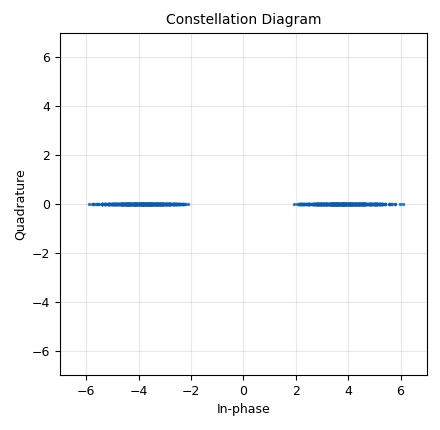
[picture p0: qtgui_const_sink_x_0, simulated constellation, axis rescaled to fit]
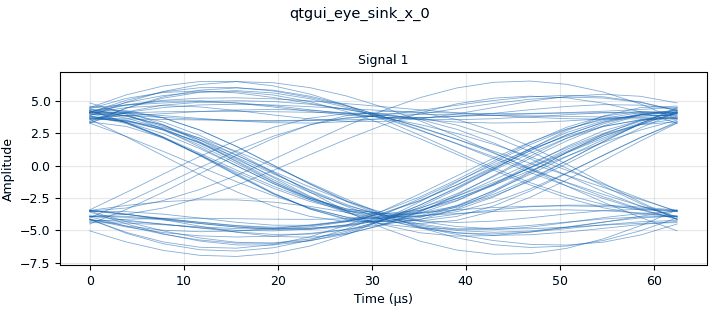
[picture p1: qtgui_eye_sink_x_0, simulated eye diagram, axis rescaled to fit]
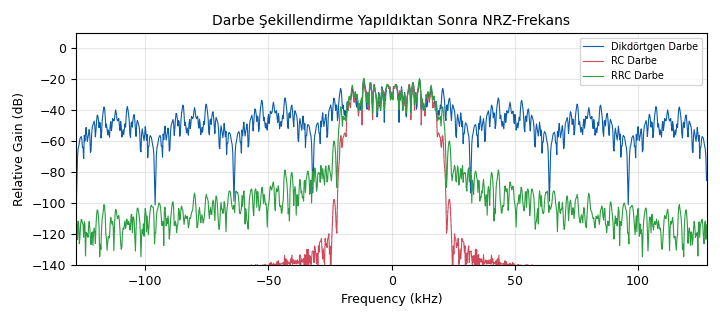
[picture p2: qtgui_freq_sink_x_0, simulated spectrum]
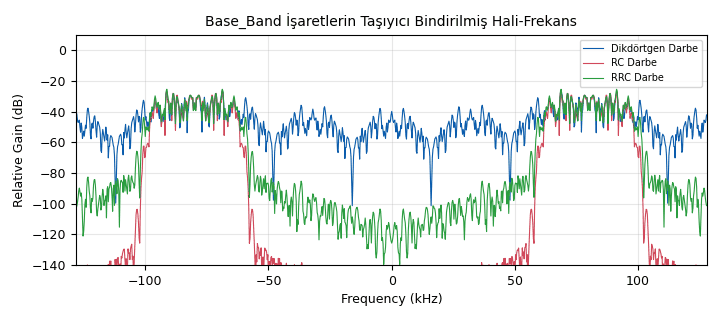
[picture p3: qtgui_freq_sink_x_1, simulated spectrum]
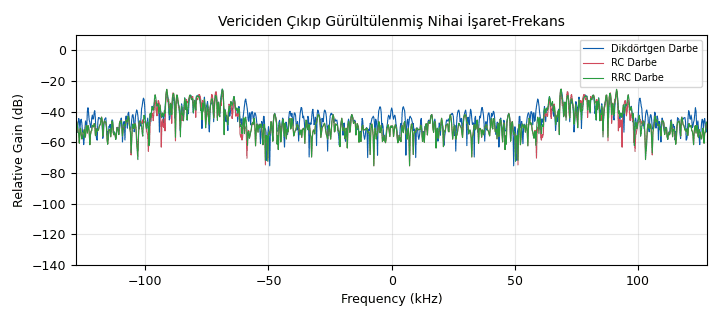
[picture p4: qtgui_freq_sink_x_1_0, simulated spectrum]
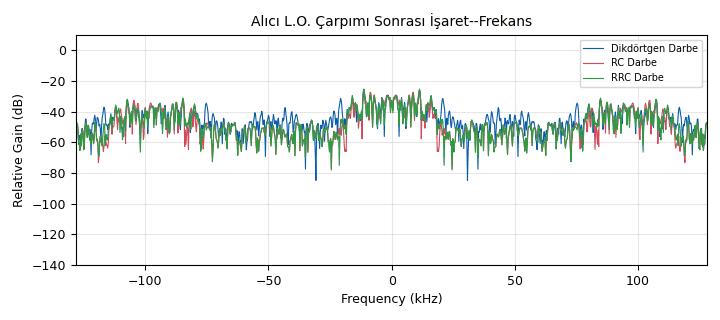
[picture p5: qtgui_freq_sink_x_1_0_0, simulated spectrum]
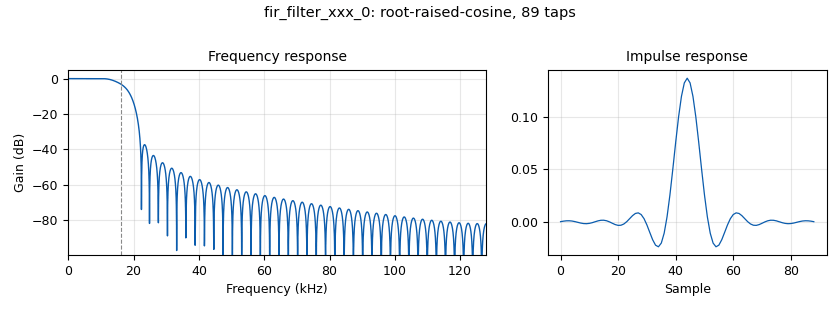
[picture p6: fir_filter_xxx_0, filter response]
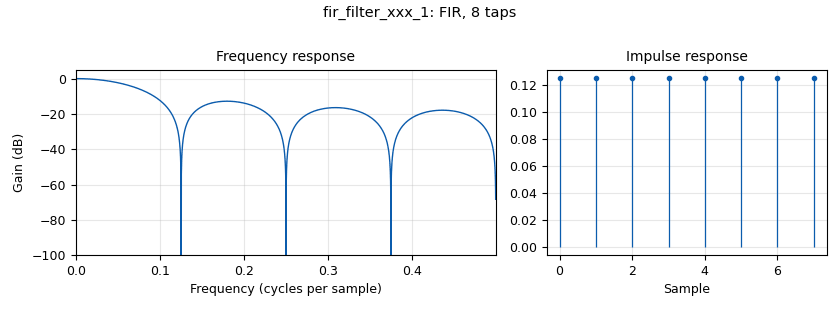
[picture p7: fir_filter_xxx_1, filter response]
options:
  parameters:
    author: Pc
    generate_options: qt_gui
    id: RRC_try_2
    output_language: python
    title: Not titled yet
  states: {}

blocks:
- name: f_c
  id: variable
  parameters:
    value: '80000'
  states: {}
- name: samp_rate
  id: variable
  parameters:
    value: '256000'
  states: {}
- name: sps
  id: variable
  parameters:
    value: '8'
  states: {}
- name: sym_rate
  id: variable
  parameters:
    value: samp_rate / sps
  states: {}
- name: analog_noise_source_x_0
  id: analog_noise_source_x
  parameters:
    amp: '0.2'
    noise_type: analog.GR_GAUSSIAN
    seed: '0'
    type: float
  states: {}
- name: analog_random_source_x_0
  id: analog_random_source_x
  parameters:
    max: '2'
    min: '0'
    num_samps: '1000'
    repeat: 'True'
    type: byte
  states: {}
- name: analog_sig_source_x_0
  id: analog_sig_source_x
  parameters:
    amp: '1'
    freq: f_c
    offset: '0'
    phase: '0'
    samp_rate: samp_rate
    type: float
    waveform: analog.GR_COS_WAVE
  states: {}
- name: analog_sig_source_x_1
  id: analog_sig_source_x
  parameters:
    amp: '1'
    freq: '80000'
    offset: '0'
    phase: '0'
    samp_rate: samp_rate
    type: float
    waveform: analog.GR_COS_WAVE
  states: {}
- name: blocks_add_const_vxx_0
  id: blocks_add_const_vxx
  parameters:
    const: '-0.5'
    type: float
  states: {}
- name: blocks_add_xx_0
  id: blocks_add_xx
  parameters:
    type: float
  states: {}
- name: blocks_add_xx_0_0
  id: blocks_add_xx
  parameters:
    type: float
  states: {}
- name: blocks_add_xx_0_1
  id: blocks_add_xx
  parameters:
    type: float
  states: {}
- name: blocks_float_to_complex_0
  id: blocks_float_to_complex
  parameters: {}
  states: {}
- name: blocks_keep_one_in_n_0
  id: blocks_keep_one_in_n
  parameters:
    n: sps
    type: float
  states: {}
- name: blocks_multiply_const_vxx_0
  id: blocks_multiply_const_vxx
  parameters:
    const: '2'
    type: float
  states: {}
- name: blocks_multiply_xx_0
  id: blocks_multiply_xx
  parameters:
    type: float
  states: {}
- name: blocks_multiply_xx_0_0
  id: blocks_multiply_xx
  parameters:
    type: float
  states: {}
- name: blocks_multiply_xx_0_1
  id: blocks_multiply_xx
  parameters:
    type: float
  states: {}
- name: blocks_multiply_xx_1
  id: blocks_multiply_xx
  parameters:
    type: float
  states: {}
- name: blocks_multiply_xx_1_0
  id: blocks_multiply_xx
  parameters:
    type: float
  states: {}
- name: blocks_multiply_xx_1_1
  id: blocks_multiply_xx
  parameters:
    type: float
  states: {}
- name: blocks_throttle2_0
  id: blocks_throttle2
  parameters:
    samples_per_second: sym_rate
    type: float
  states: {}
- name: blocks_uchar_to_float_0
  id: blocks_uchar_to_float
  parameters: {}
  states: {}
- name: blocks_uchar_to_float_1
  id: blocks_uchar_to_float
  parameters: {}
  states: {}
- name: blocks_vector_source_x_0
  id: blocks_vector_source_x
  parameters:
    repeat: 'True'
    type: float
    vector: '[1.0] + [0.0]*100'
  states: {}
- name: digital_binary_slicer_fb_0
  id: digital_binary_slicer_fb
  parameters: {}
  states: {}
- name: fir_filter_xxx_0
  id: fir_filter_xxx
  parameters:
    decim: '1'
    taps: firdes.root_raised_cosine(1, samp_rate, sym_rate, 0.35, 11*sps)
    type: fff
  states: {}
- name: fir_filter_xxx_1
  id: fir_filter_xxx
  parameters:
    decim: '1'
    taps: '[1.0/sps] * sps'
    type: fff
  states: {}
- name: fir_filter_xxx_1_0
  id: fir_filter_xxx
  parameters:
    decim: '1'
    taps: firdes.root_raised_cosine(sps, samp_rate, sym_rate, 0.35, 11*sps)
    type: fff
  states: {}
- name: fir_filter_xxx_1_1
  id: fir_filter_xxx
  parameters:
    decim: '1'
    taps: firdes.root_raised_cosine(sps, samp_rate, sym_rate, 0.35, 11*sps)
    type: fff
  states: {}
- name: interp_fir_filter_xxx_0
  id: interp_fir_filter_xxx
  parameters:
    interp: sps
    taps: firdes.root_raised_cosine(sps, samp_rate, sym_rate, 0.35, 11*sps)
    type: fff
  states: {}
- name: interp_fir_filter_xxx_0_0
  id: interp_fir_filter_xxx
  parameters:
    interp: sps
    taps: '[1.0] * sps'
    type: fff
  states: {}
- name: interp_fir_filter_xxx_0_1
  id: interp_fir_filter_xxx
  parameters:
    interp: sps
    taps: firdes.root_raised_cosine(sps, samp_rate, sym_rate, 0.35, 11*sps)
    type: fff
  states: {}
- name: interp_fir_filter_xxx_1
  id: interp_fir_filter_xxx
  parameters:
    interp: '1'
    taps: firdes.root_raised_cosine(1, samp_rate, sym_rate, 0.35, 11*sps)
    type: fff
  states: {}
- name: qtgui_const_sink_x_0
  id: qtgui_const_sink_x
  parameters:
    gui_hint: 9, 1, 1, 1
    name: '"Constellation Diagram"'
    size: '1024'
    type: complex
  states: {}
- name: qtgui_eye_sink_x_0
  id: qtgui_eye_sink_x
  parameters:
    gui_hint: 9, 0, 1, 1
    samp_per_symbol: sps
    size: '1024'
    srate: samp_rate
    type: float
  states: {}
- name: qtgui_freq_sink_x_0
  id: qtgui_freq_sink_x
  parameters:
    bw: samp_rate
    fc: '0'
    fftsize: '1024'
    gui_hint: 2, 1, 1, 1
    label1: Dikdörtgen Darbe
    label2: RC Darbe
    label3: RRC Darbe
    name: '"Darbe Şekillendirme Yapıldıktan Sonra NRZ-Frekans"'
    nconnections: '3'
    type: float
  states: {}
- name: qtgui_freq_sink_x_1
  id: qtgui_freq_sink_x
  parameters:
    bw: samp_rate
    fc: '0'
    fftsize: '1024'
    gui_hint: 3, 1, 1, 1
    label1: Dikdörtgen Darbe
    label2: RC Darbe
    label3: RRC Darbe
    name: '"Base_Band İşaretlerin Taşıyıcı Bindirilmiş Hali-Frekans"'
    nconnections: '3'
    type: float
  states: {}
- name: qtgui_freq_sink_x_1_0
  id: qtgui_freq_sink_x
  parameters:
    bw: samp_rate
    fc: '0'
    fftsize: '1024'
    gui_hint: 4, 1, 1, 1
    label1: Dikdörtgen Darbe
    label2: RC Darbe
    label3: RRC Darbe
    name: '"Vericiden Çıkıp Gürültülenmiş Nihai İşaret-Frekans"'
    nconnections: '3'
    type: float
  states: {}
- name: qtgui_freq_sink_x_1_0_0
  id: qtgui_freq_sink_x
  parameters:
    bw: samp_rate
    fc: '0'
    fftsize: '1024'
    gui_hint: 5, 1, 1, 1
    label1: Dikdörtgen Darbe
    label2: RC Darbe
    label3: RRC Darbe
    name: '"Alıcı L.O. Çarpımı Sonrası İşaret--Frekans"'
    nconnections: '3'
    type: float
  states: {}
- name: qtgui_freq_sink_x_1_0_1
  id: qtgui_freq_sink_x
  parameters:
    bw: samp_rate
    fc: '0'
    fftsize: '1024'
    gui_hint: 7, 1, 1, 1
    label1: Dikdörtgen Darbe
    label2: RC Darbe
    label3: RRC Darbe
    name: '"Matched Filter Sonrası İşaretler-Frekans"'
    nconnections: '3'
    type: float
  states: {}
- name: qtgui_time_sink_x_0
  id: qtgui_time_sink_x
  parameters:
    gui_hint: 1, 0, 1, 2
    name: '"NRZ''ye dönüştürülmüş Bitler"'
    size: '1024'
    srate: sym_rate
    type: float
  states: {}
- name: qtgui_time_sink_x_0_0
  id: qtgui_time_sink_x
  parameters:
    gui_hint: 0, 0, 1, 2
    name: '"PC''den Çıkan Saf Bitler"'
    size: '1024'
    srate: sym_rate
    type: float
  states: {}
- name: qtgui_time_sink_x_1
  id: qtgui_time_sink_x
  parameters:
    gui_hint: 2, 0, 1, 1
    label1: Dikdörtgen Darbe
    label2: RC Darbe
    label3: RRC Darbe
    name: '"Darbe Şekillendirme Yapıldıktan Sonra NRZ-Zaman"'
    nconnections: '3'
    size: '1024'
    srate: samp_rate
    type: float
  states: {}
- name: qtgui_time_sink_x_2
  id: qtgui_time_sink_x
  parameters:
    gui_hint: 3, 0, 1, 1
    label1: Dikdörtgen Darbe
    label2: RC Darbe
    label3: RRC Darbe
    name: '"Base_Band İşaretlerin Taşıyıcı Bindirilmiş Hali-Zaman"'
    nconnections: '3'
    size: '1024'
    srate: samp_rate
    type: float
  states: {}
- name: qtgui_time_sink_x_2_0
  id: qtgui_time_sink_x
  parameters:
    gui_hint: 4, 0, 1, 1
    label1: Dikdörtgen Darbe
    label2: RC Darbe
    label3: RRC Darbe
    name: '"Vericiden Çıkıp Gürültülenmiş Nihai İşaret-Zaman"'
    nconnections: '3'
    size: '1024'
    srate: samp_rate
    type: float
  states: {}
- name: qtgui_time_sink_x_2_0_0
  id: qtgui_time_sink_x
  parameters:
    gui_hint: 5, 0, 1, 1
    label1: Dikdörtgen Darbe
    label2: RC Darbe
    label3: RRC Darbe
    name: '"Alıcı L.O. Çarpımı Sonrası İşaret-Zaman"'
    nconnections: '3'
    size: '1024'
    srate: samp_rate
    type: float
  states: {}
- name: qtgui_time_sink_x_2_0_1
  id: qtgui_time_sink_x
  parameters:
    gui_hint: 7, 0, 1, 1
    label1: Dikdörtgen Darbe
    label2: RC Darbe
    label3: RRC Darbe
    name: '"Matched Filter Sonrası İşaretler-Zaman"'
    nconnections: '3'
    size: '1024'
    srate: samp_rate
    type: float
  states: {}
- name: qtgui_time_sink_x_3
  id: qtgui_time_sink_x
  parameters:
    gui_hint: 6, 0, 1, 2
    name: '"Kurabiye Kalıbı"'
    size: '1024'
    srate: samp_rate
    type: float
  states: {}
- name: qtgui_time_sink_x_4
  id: qtgui_time_sink_x
  parameters:
    gui_hint: 8, 0, 1, 2
    name: '"Alıcıda Elde Edilen Nihai Bitler"'
    size: '1024'
    srate: sym_rate
    type: float
  states: {}

connections:
- [analog_noise_source_x_0, '0', blocks_add_xx_0, '1']
- [analog_noise_source_x_0, '0', blocks_add_xx_0_0, '1']
- [analog_noise_source_x_0, '0', blocks_add_xx_0_1, '1']
- [analog_random_source_x_0, '0', blocks_uchar_to_float_0, '0']
- [analog_sig_source_x_0, '0', blocks_multiply_xx_0, '1']
- [analog_sig_source_x_0, '0', blocks_multiply_xx_0_0, '1']
- [analog_sig_source_x_0, '0', blocks_multiply_xx_0_1, '1']
- [analog_sig_source_x_1, '0', blocks_multiply_xx_1, '1']
- [analog_sig_source_x_1, '0', blocks_multiply_xx_1_0, '1']
- [analog_sig_source_x_1, '0', blocks_multiply_xx_1_1, '1']
- [blocks_add_const_vxx_0, '0', blocks_multiply_const_vxx_0, '0']
- [blocks_add_xx_0, '0', blocks_multiply_xx_1_1, '0']
- [blocks_add_xx_0, '0', qtgui_freq_sink_x_1_0, '0']
- [blocks_add_xx_0, '0', qtgui_time_sink_x_2_0, '0']
- [blocks_add_xx_0_0, '0', blocks_multiply_xx_1, '0']
- [blocks_add_xx_0_0, '0', qtgui_freq_sink_x_1_0, '1']
- [blocks_add_xx_0_0, '0', qtgui_time_sink_x_2_0, '1']
- [blocks_add_xx_0_1, '0', blocks_multiply_xx_1_0, '0']
- [blocks_add_xx_0_1, '0', qtgui_freq_sink_x_1_0, '2']
- [blocks_add_xx_0_1, '0', qtgui_time_sink_x_2_0, '2']
- [blocks_float_to_complex_0, '0', qtgui_const_sink_x_0, '0']
- [blocks_keep_one_in_n_0, '0', blocks_float_to_complex_0, '0']
- [blocks_keep_one_in_n_0, '0', digital_binary_slicer_fb_0, '0']
- [blocks_multiply_const_vxx_0, '0', interp_fir_filter_xxx_0, '0']
- [blocks_multiply_const_vxx_0, '0', interp_fir_filter_xxx_0_0, '0']
- [blocks_multiply_const_vxx_0, '0', interp_fir_filter_xxx_0_1, '0']
- [blocks_multiply_const_vxx_0, '0', qtgui_time_sink_x_0, '0']
- [blocks_multiply_xx_0, '0', blocks_add_xx_0, '0']
- [blocks_multiply_xx_0, '0', qtgui_freq_sink_x_1, '0']
- [blocks_multiply_xx_0, '0', qtgui_time_sink_x_2, '0']
- [blocks_multiply_xx_0_0, '0', blocks_add_xx_0_0, '0']
- [blocks_multiply_xx_0_0, '0', qtgui_freq_sink_x_1, '1']
- [blocks_multiply_xx_0_0, '0', qtgui_time_sink_x_2, '1']
- [blocks_multiply_xx_0_1, '0', blocks_add_xx_0_1, '0']
- [blocks_multiply_xx_0_1, '0', qtgui_freq_sink_x_1, '2']
- [blocks_multiply_xx_0_1, '0', qtgui_time_sink_x_2, '2']
- [blocks_multiply_xx_1, '0', fir_filter_xxx_1_0, '0']
- [blocks_multiply_xx_1, '0', qtgui_freq_sink_x_1_0_0, '1']
- [blocks_multiply_xx_1, '0', qtgui_time_sink_x_2_0_0, '1']
- [blocks_multiply_xx_1_0, '0', fir_filter_xxx_1_1, '0']
- [blocks_multiply_xx_1_0, '0', qtgui_freq_sink_x_1_0_0, '2']
- [blocks_multiply_xx_1_0, '0', qtgui_time_sink_x_2_0_0, '2']
- [blocks_multiply_xx_1_1, '0', fir_filter_xxx_1, '0']
- [blocks_multiply_xx_1_1, '0', qtgui_freq_sink_x_1_0_0, '0']
- [blocks_multiply_xx_1_1, '0', qtgui_time_sink_x_2_0_0, '0']
- [blocks_throttle2_0, '0', blocks_add_const_vxx_0, '0']
- [blocks_uchar_to_float_0, '0', blocks_throttle2_0, '0']
- [blocks_uchar_to_float_0, '0', qtgui_time_sink_x_0_0, '0']
- [blocks_uchar_to_float_1, '0', qtgui_time_sink_x_4, '0']
- [blocks_vector_source_x_0, '0', interp_fir_filter_xxx_1, '0']
- [digital_binary_slicer_fb_0, '0', blocks_uchar_to_float_1, '0']
- [fir_filter_xxx_0, '0', blocks_multiply_xx_0_0, '0']
- [fir_filter_xxx_0, '0', qtgui_freq_sink_x_0, '1']
- [fir_filter_xxx_0, '0', qtgui_time_sink_x_1, '1']
- [fir_filter_xxx_1, '0', qtgui_freq_sink_x_1_0_1, '0']
- [fir_filter_xxx_1, '0', qtgui_time_sink_x_2_0_1, '0']
- [fir_filter_xxx_1_0, '0', qtgui_freq_sink_x_1_0_1, '1']
- [fir_filter_xxx_1_0, '0', qtgui_freq_sink_x_1_0_1, '2']
- [fir_filter_xxx_1_0, '0', qtgui_time_sink_x_2_0_1, '1']
- [fir_filter_xxx_1_1, '0', blocks_keep_one_in_n_0, '0']
- [fir_filter_xxx_1_1, '0', qtgui_eye_sink_x_0, '0']
- [fir_filter_xxx_1_1, '0', qtgui_time_sink_x_2_0_1, '2']
- [interp_fir_filter_xxx_0, '0', fir_filter_xxx_0, '0']
- [interp_fir_filter_xxx_0_0, '0', blocks_multiply_xx_0, '0']
- [interp_fir_filter_xxx_0_0, '0', qtgui_freq_sink_x_0, '0']
- [interp_fir_filter_xxx_0_0, '0', qtgui_time_sink_x_1, '0']
- [interp_fir_filter_xxx_0_1, '0', blocks_multiply_xx_0_1, '0']
- [interp_fir_filter_xxx_0_1, '0', qtgui_freq_sink_x_0, '2']
- [interp_fir_filter_xxx_0_1, '0', qtgui_time_sink_x_1, '2']
- [interp_fir_filter_xxx_1, '0', qtgui_time_sink_x_3, '0']

metadata:
  file_format: 1
  grc_version: 3.10.12.0
